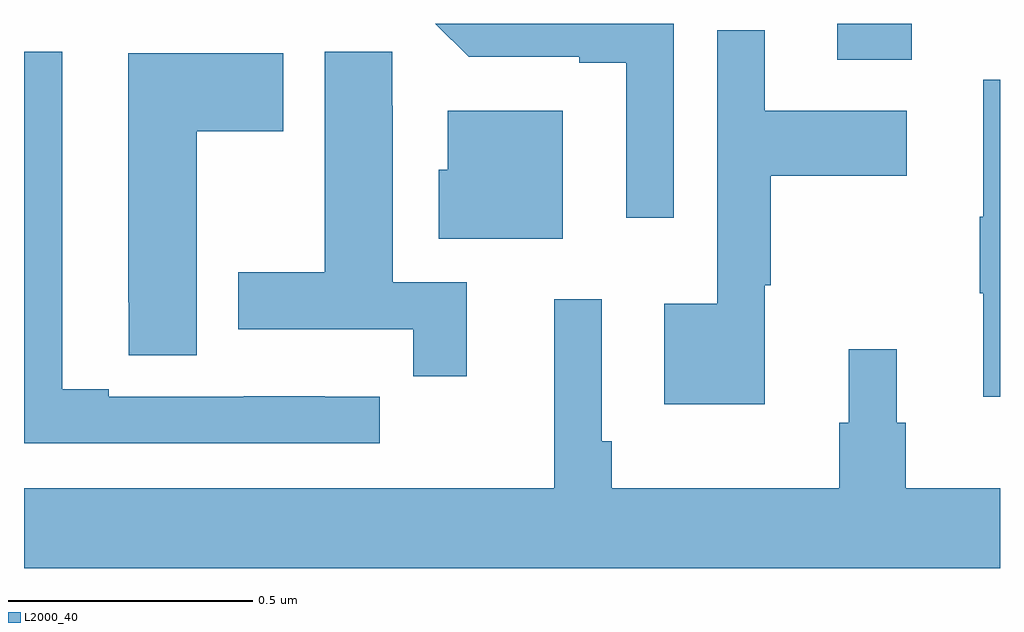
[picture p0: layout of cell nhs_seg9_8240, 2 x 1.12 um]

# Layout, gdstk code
import gdstk
lib = gdstk.Library(unit=1e-6, precision=1e-09)
def R(c, l, rs):  # rectangles x0, y0, x1, y1
    for r in rs: c.add(gdstk.rectangle(r[:2], r[2:], *l))
def P(c, l, *ps):  # polygons
    for p in ps: c.add(gdstk.Polygon(p, *l))
L2000_40 = (2000, 40)

nhs_seg9_8240 = lib.new_cell('nhs_seg9_8240')
R(nhs_seg9_8240, L2000_40, [(215.666,1233.426,215.819,1233.5)])
P(nhs_seg9_8240, L2000_40, [(215.331,1233.5),(214.843,1233.5),(214.911,1233.432),(215.138,1233.432),(215.138,1233.42),(215.234,1233.42),(215.234,1233.102),(215.331,1233.102)],
  [(215.518,1232.964),(215.53,1232.964),(215.53,1233.188),(215.809,1233.188),(215.809,1233.322),(215.518,1233.322),(215.518,1233.487),(215.421,1233.487),(215.421,1232.926),(215.312,1232.926),(215.312,1232.72),(215.518,1232.72)],
  [(214.729,1232.736),(214.616,1232.736),(214.616,1232.737),(214.45,1232.737),(214.45,1232.736),(214.174,1232.736),(214.174,1232.751),(214.078,1232.751),(214.078,1233.443),(214,1233.443),(214,1232.64),(214.729,1232.64)],
  [(214.907,1232.97),(214.756,1232.97),(214.756,1233.332),(214.755,1233.332),(214.755,1233.443),(214.616,1233.443),(214.616,1232.991),(214.439,1232.991),(214.439,1232.874),(214.798,1232.874),(214.798,1232.778),(214.907,1232.778)],
  [(214.354,1233.28),(214.531,1233.28),(214.531,1233.439),(214.214,1233.439),(214.214,1232.929),(214.215,1232.929),(214.215,1232.821),(214.354,1232.821)],
  [(216,1233.385),(215.966,1233.385),(215.966,1233.104),(215.959,1233.104),(215.959,1232.948),(215.966,1232.948),(215.966,1232.736),(216,1232.736)],
  [(215.104,1233.322),(214.868,1233.322),(214.868,1233.201),(214.85,1233.201),(214.85,1233.059),(215.104,1233.059)],
  [(216,1232.548),(215.807,1232.548),(215.807,1232.682),(215.788,1232.682),(215.788,1232.833),(215.69,1232.833),(215.69,1232.682),(215.671,1232.682),(215.671,1232.548),(215.204,1232.548),(215.204,1232.644),(215.184,1232.644),(215.184,1232.935),(215.087,1232.935),(215.087,1232.548),(214,1232.548),(214,1232.384),(216,1232.384)])

lib.write_gds('nhs_seg9_8240.gds')
